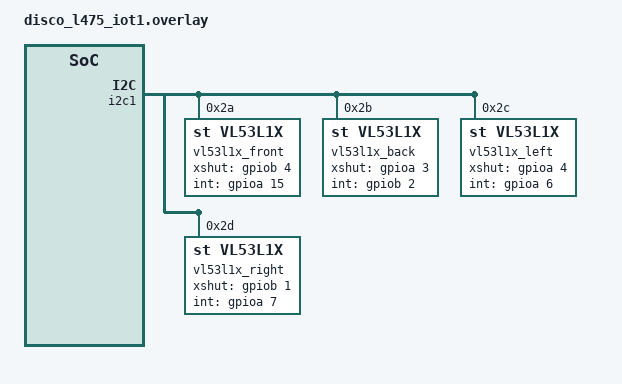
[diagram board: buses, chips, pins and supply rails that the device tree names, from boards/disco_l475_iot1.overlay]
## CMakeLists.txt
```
# SPDX-License-Identifier: Apache-2.0

cmake_minimum_required(VERSION 3.20.0)
set(CONF_FILE prj.conf)
find_package(Zephyr REQUIRED HINTS $ENV{ZEPHYR_BASE})

FILE(GLOB app_sources src/*.c)
target_sources(app PRIVATE ${app_sources})

include_directories(~/csse4011/odin-red/disco/drivers)
target_include_directories(app PRIVATE ~/csse4011/odin-red/disco/drivers)

target_sources(app PRIVATE ~/csse4011/odin-red/disco/drivers/angle_sensors/angle_sensors.c)
target_sources(app PRIVATE ~/csse4011/odin-red/disco/drivers/distance_sensors/distance_sensors.c)
target_sources(app PRIVATE ~/csse4011/odin-red/disco/drivers/serial_comms/serial_comms.c)

project(odin_red)
```

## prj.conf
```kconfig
CONFIG_STDOUT_CONSOLE=y
CONFIG_I2C=y
CONFIG_GPIO=y
CONFIG_SENSOR=y
CONFIG_CBPRINTF_FP_SUPPORT=y
CONFIG_NEWLIB_LIBC=y

CONFIG_LIS3MDL_ODR="155"

CONFIG_VL53L1X=y
CONFIG_VL53L1X_INTERRUPT_MODE=y
CONFIG_VL53L1X_XSHUT=y
CONFIG_VL53L1X_RECONFIGURE_ADDRESS=y

# Debugging
# CONFIG_DEBUG=y
# CONFIG_LOG=y
# CONFIG_SENSOR_LOG_LEVEL_DBG=y
```

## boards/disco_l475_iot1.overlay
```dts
&i2c1 {

	vl53l1x_front: vl53l1x@2a {
		compatible = "st,vl53l1x";
		reg = <0x2a>;
		xshut-gpios = <&gpiob 4 GPIO_ACTIVE_HIGH>; // FRONT
        int-gpios = <&gpioa 15 (GPIO_ACTIVE_HIGH | GPIO_PULL_UP)>;
	};

	vl53l1x_back: vl53l1x@2b {
		compatible = "st,vl53l1x";
		reg = <0x2b>;
		xshut-gpios = <&gpioa 3 GPIO_ACTIVE_HIGH>; // BACK
        int-gpios = <&gpiob 2 (GPIO_ACTIVE_HIGH | GPIO_PULL_UP)>;
	};

	vl53l1x_left: vl53l1x@2c {
		compatible = "st,vl53l1x";
		reg = <0x2c>;
		xshut-gpios = <&gpioa 4 GPIO_ACTIVE_HIGH>; // LEFT
        int-gpios = <&gpioa 6 (GPIO_ACTIVE_HIGH | GPIO_PULL_UP)>;
	};

	vl53l1x_right: vl53l1x@2d {
		compatible = "st,vl53l1x";
		reg = <0x2d>;
		xshut-gpios = <&gpiob 1 GPIO_ACTIVE_HIGH>; // RIGHT
        int-gpios = <&gpioa 7 (GPIO_ACTIVE_HIGH | GPIO_PULL_UP)>;
	};

};
```

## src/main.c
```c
#include <zephyr/kernel.h>
#include <zephyr/device.h>
#include <zephyr/drivers/sensor.h>
#include <stdio.h>
#include <stdlib.h>
#include <zephyr/sys/util.h>
#include <math.h>
#include "distance_sensors/distance_sensors.h"
#include "angle_sensors/angle_sensors.h"
#include "serial_comms/serial_comms.h"

/* Macro definitions for constants */
#define Y_MAX_CM            200
#define Y_MIN_CM            0
#define X_MAX_CM            200
#define X_MIN_CM            0

#define DISTANCE_ERR_THRES  15

#define X_IDX               0
#define Y_IDX               1

#define FRONT_OFFSET_MM     160
#define BACK_OFFSET_MM      160
#define LEFT_OFFSET_MM      100
#define RIGHT_OFFSET_MM     100

/* Thread to handle calculating angle using magnetometer and gyroscope sensors */
K_THREAD_STACK_DEFINE(angle_thread_stack, ANGLE_THREAD_STACK_SIZE);
struct k_thread angle_thread_data;

/* Thread to handle measuring distance using VL53L1X TOF sensors */
K_THREAD_STACK_DEFINE(distance_thread_stack, DISTANCE_THREAD_STACK_SIZE);
struct k_thread distance_thread_data;

/* Thread to handle serial communications over uart */
K_THREAD_STACK_DEFINE(serial_comms_thread_stack, SERIAL_COMMS_STACK_SIZE);
struct k_thread serial_comms_thread_data;

/* Function definitions */
void find_solution_lines(double distance, double angle, uint8_t* pos_buffer);
void predict_location(double angle, double front_d, double back_d, double left_d, double right_d, uint8_t* pos_buffer);

void main(void)
{
    /* Create a thread to handle angle sensors */
	k_tid_t angle_thread_id = k_thread_create(&angle_thread_data,
													angle_thread_stack,
													ANGLE_THREAD_STACK_SIZE,
													angle_sensors_thread,
													NULL, NULL, NULL,
													ANGLE_THREAD_PRIORITY,
													0, K_NO_WAIT);

    /* Create a thread to handle distance sensors */
	k_tid_t distance_thread_id = k_thread_create(&distance_thread_data,
													distance_thread_stack,
													DISTANCE_THREAD_STACK_SIZE,
													distance_sensors_thread,
													NULL, NULL, NULL,
													DISTANCE_THREAD_PRIORITY,
													0, K_NO_WAIT);

    /* Create a thread to handle serial communications */
	k_tid_t serial_comms_thread_id = k_thread_create(&serial_comms_thread_data,
													serial_comms_thread_stack,
													SERIAL_COMMS_STACK_SIZE,
													serial_comms_thread,
													NULL, NULL, NULL,
													SERIAL_COMMS_PRIORITY,
													0, K_NO_WAIT);

    /* Start angle sensors thread */
	if (angle_thread_id != NULL) {
		k_thread_start(angle_thread_id);
	}

	/* Start distance sensors thread */
	if (distance_thread_id != NULL) {
		k_thread_start(distance_thread_id);
	}

	/* Start serial comms thread */
	if (serial_comms_thread_id != NULL) {
		k_thread_start(serial_comms_thread_id);
	}


	/* Struct to store angle data received from angle sensors thread */
	struct angle_data angle;

	/* Struct to store distances data received from distance sensors thread */
	struct distance_data distances;

    /* Struct to store predicted location to send to serial comms thread */
    struct serial_comms_data outgoing_location;

    outgoing_location.x_position = 0;
    outgoing_location.y_position = 0;

    /* Buffer to store the predicted x,y location of the rover */
    uint8_t pred_location[2];

    while (1) {

        /* Check if update reference angle semaphore has been given from UART thread */
        if (!k_sem_take(&serial_ref_angle_sem, K_NO_WAIT)) {
            /* Give update reference angle semaphore to angle thread */
            k_sem_give(&update_ref_angle_sem);
        }

		/* Check for angle data */
		k_msgq_get(&angle_msgq, &angle, K_NO_WAIT);

		/* Check for distances data */
		if (!k_msgq_get(&distances_msgq, &distances, K_NO_WAIT)) {

            predict_location(angle.angle,
                    (distances.front_distance + FRONT_OFFSET_MM) / 10,
                    (distances.back_distance + BACK_OFFSET_MM) / 10,
                    (distances.left_distance + LEFT_OFFSET_MM) / 10,
                    (distances.right_distance + RIGHT_OFFSET_MM) / 10,
                    pred_location);

            /* Ensure position is in bounds */
            for (uint8_t i = 0; i < 2; i++) {
                if (pred_location[i] > 200) {
                    pred_location[i] = 200;
                } else if (pred_location[i] < 0) {
                    pred_location[i] = 0;
                }
            }

            outgoing_location.x_position = pred_location[X_IDX];
            outgoing_location.y_position = pred_location[Y_IDX];

            /* Send position to serial comms message queue */
                if (k_msgq_put(&serial_comms_msgq, &outgoing_location, K_NO_WAIT) != 0) {
                    /* Queue is full, purge it */
                    k_msgq_purge(&serial_comms_msgq);
                }
        }
        
		k_sleep(K_MSEC(200));        
    }
}

/* Takes in angle and four distances (front, back, left and right) and
    predicts the location using trigonometry. Places the predicted x,y
    location in the supplied buffer.
    Note: angle must be in degrees and between 0 and 360.
          distance must be in cm. 
    */
void predict_location(double angle, double front_d, double back_d, double left_d, double right_d, uint8_t* pos_buffer)
{
    /* Determine angles for all four distances */
    double front_angle, back_angle, left_angle, right_angle;

    front_angle = angle * 0.01744; // Convert to radians

    back_angle = angle + 180;
    if (back_angle >= 360) {
        back_angle -= 360;
    }
    back_angle *= 0.01744; // Convert to radians

    left_angle = angle + 90;
    if (left_angle >= 360) {
        left_angle -= 360;
    }
    left_angle *= 0.01744; // Convert to radians

    right_angle = angle + 270;
    if (right_angle >= 360) {
        right_angle -= 360;
    }
    right_angle *= 0.01744; // Convert to radians

    /* Buffers to store possible x and y solution lines */
    uint8_t front_x_y_buf[2], back_x_y_buf[2], left_x_y_buf[2], right_x_y_buf[2];

    /* Find possible x and y positions for rover based on each distance */
    find_solution_lines(front_d, front_angle, front_x_y_buf);
    find_solution_lines(back_d, back_angle, back_x_y_buf);
    find_solution_lines(left_d, left_angle, left_x_y_buf);
    find_solution_lines(right_d, right_angle, right_x_y_buf);

    /* Store the x solutions in an array and the y solutions in an array */
    uint8_t xs[] = {
        front_x_y_buf[X_IDX],
        back_x_y_buf[X_IDX],
        left_x_y_buf[X_IDX],
        right_x_y_buf[X_IDX]
    };

    uint8_t ys[] = {
        front_x_y_buf[Y_IDX],
        back_x_y_buf[Y_IDX],
        left_x_y_buf[Y_IDX],
        right_x_y_buf[Y_IDX]
    };

    uint8_t i, j, k, l;
    for (i = 0; i < 4; i++) {
        j = (i + 1) % 4;
        k = (i + 2) % 4;
        l = (i + 3) % 4;

        /* Check if any combination of three lines are similar
            (equal but with noise) */
        if (abs(xs[i] - xs[j]) < DISTANCE_ERR_THRES
                && abs(xs[i] - xs[k]) < DISTANCE_ERR_THRES) {
            // Average lines
            uint16_t avg = round((xs[i] + xs[j] + xs[k]) / 3.0);
            /* Ignore zero */
            if (abs(avg) >= DISTANCE_ERR_THRES
                    && abs(ys[l]) >= DISTANCE_ERR_THRES) {
                pos_buffer[X_IDX] = (uint8_t) avg;
                pos_buffer[Y_IDX] = ys[l];
                return;
            }
        }

        if (abs(ys[i] - ys[j]) < DISTANCE_ERR_THRES
                && abs(ys[i] - ys[k]) < DISTANCE_ERR_THRES) {
            // Average lines
            uint16_t avg = round((ys[i] + ys[j] + ys[k]) / 3.0);
            /* Ignore zero */
            if (abs(xs[l]) >= DISTANCE_ERR_THRES
                    && abs(avg) >= DISTANCE_ERR_THRES) {
                pos_buffer[X_IDX] = xs[l];
                pos_buffer[Y_IDX] = (uint8_t) avg;
                return;
            }
        }
    }

    /* Check if any combinations of two lines are similar
        (equal but with noise) */
    uint8_t num_indexes = 6;
    uint8_t indexes_1[] = {0, 0, 0, 1, 1, 2};
    uint8_t indexes_2[] = {1, 2, 3, 2, 3, 3};

    for (uint8_t idx = 0; idx < num_indexes; idx++) {
        i = indexes_1[idx];
        j = indexes_2[idx];
        k = indexes_1[num_indexes - idx - 1];
        l = indexes_2[num_indexes - idx - 1];
        if (abs(xs[i] - xs[j]) < DISTANCE_ERR_THRES
                && abs(ys[k] - ys[l]) < DISTANCE_ERR_THRES) {
            uint16_t x_avg = round((xs[i] + xs[j]) / 2.0);
            uint16_t y_avg = round((ys[k] + ys[l]) / 2.0);
            
            if (abs(x_avg) >= DISTANCE_ERR_THRES
                    && abs(y_avg) >= DISTANCE_ERR_THRES) {
                pos_buffer[X_IDX] = (uint8_t) x_avg;
                pos_buffer[Y_IDX] = (uint8_t) y_avg;
                return;
            }

        }
    }

    pos_buffer[X_IDX] = 0;
    pos_buffer[Y_IDX] = 0;
    return;
}

/* Helper function to find the two solution lines (y=a and x=b) where
    the rover could be based on a given distance to a wall and an angle.
    Stores the x,y functions in the given buffer.
    Note: angle should be given in radians (between 0 and 2pi) and distance
    should be given in cm. */
void find_solution_lines(double distance, double angle, uint8_t* pos_buffer)
{
    /* Calculate x and y components of the given distance and angle */
    double yd = distance * sin(angle);
    double xd = distance * cos(angle);

    double angle_deg = angle * 57.3;

    /* Check edge cases (0, 90, 180 or 270 degrees) */
    if (angle_deg == 0) {
        pos_buffer[X_IDX] = (uint8_t) round(X_MAX_CM - xd);
        pos_buffer[Y_IDX] = 0;
        return;
    } else if (angle_deg == 90) {
        pos_buffer[X_IDX] = 0;
        pos_buffer[Y_IDX] = (uint8_t) round(Y_MAX_CM - yd);
        return;
    } else if (angle_deg == 180) {
        pos_buffer[X_IDX] = (uint8_t) round(X_MIN_CM - xd);
        pos_buffer[Y_IDX] = 0;
        return;
    } else if (angle_deg == 270) {
        pos_buffer[X_IDX] = 0;
        pos_buffer[Y_IDX] = (uint8_t) round(Y_MIN_CM - yd);
        return;
    }

    /* Map the x and y components to x and y coordinates within the 2m square */
    if (0 < angle_deg && angle_deg < 180) {
        pos_buffer[Y_IDX] = (uint8_t) round(Y_MAX_CM - yd);
    } else {
        pos_buffer[Y_IDX] = (uint8_t) round(Y_MIN_CM - yd);
    }

    if (90 < angle_deg && angle_deg < 270) {
        pos_buffer[X_IDX] = (uint8_t) round(X_MIN_CM - xd);
    } else {
        pos_buffer[X_IDX] = (uint8_t) round(X_MAX_CM - xd);
    }
}
```
